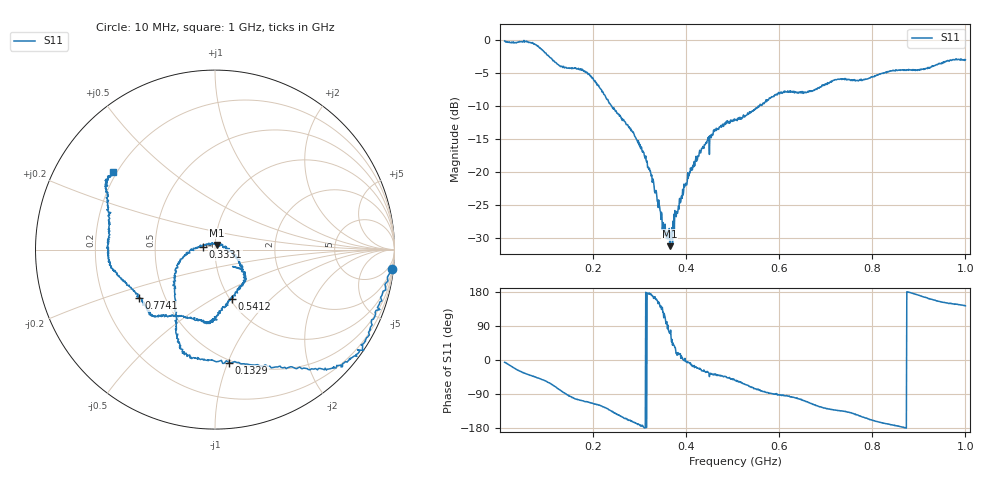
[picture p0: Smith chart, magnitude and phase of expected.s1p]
!Created with skrf (http://scikit-rf.org).
# Hz S RI R 50.0
!freq ReS11 ImS11
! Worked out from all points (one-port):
!   1000 points, 10 MHz to 1 GHz, reference 50 ohm
!   lowest |S11| = -31.3 dB at 364.8 MHz (marker M1), VSWR 1.06, Z = 50.8 + j2.64 ohm
!   |S11| at or under -10 dB: 240.1 MHz to 554.9 MHz (314.7 MHz wide, 79.2 % of centre); 555.2889 MHz to 557.1167 MHz (1.828 MHz wide, 0.329 % of centre)
!   S11 on the Smith chart (normalised r, x): 10 MHz: 1, -19; 132.9 MHz: 0.47, -1.01; 333.1 MHz: 0.87, +0.03; 541.2 MHz: 1.02, -0.61; 774.1 MHz: 0.35, -0.26; 1 GHz: 0.19, +0.33
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1e7  0.9859 -0.1057
4.27027e7  0.8545 -0.4818
6.54955e7  0.7336 -0.6254
8.531532e7  0.5758 -0.6623
1.328829e8  0.0768 -0.6321
1.338739e8  0.0737 -0.6255
1.596396e8  -0.1217 -0.6018
1.794595e8  -0.18 -0.5565
2.577477e8  -0.2276 -0.1455
3.043243e8  -0.1527 -0.0203
3.330631e8  -0.0676 0.0155
3.538739e8  -0.0172 0.033
3.647748e8  0.00841 0.026
3.697297e8  0.0221 0.0307
3.816216e8  0.046 0.0158
4.073874e8  0.0992 -0.0129
4.440541e8  0.1397 -0.089
5.054955e8  0.1466 -0.2032
5.411712e8  0.0927 -0.2747
5.946847e8  -0.00264 -0.3914
6.293694e8  -0.0606 -0.4006
7.145946e8  -0.3222 -0.3726
7.532432e8  -0.3772 -0.3263
7.740541e8  -0.4261 -0.2711
8.364865e8  -0.5716 -0.1062
8.771171e8  -0.5929 0.00889
9.554054e8  -0.6068 0.3239
1e9  -0.5686 0.4303
